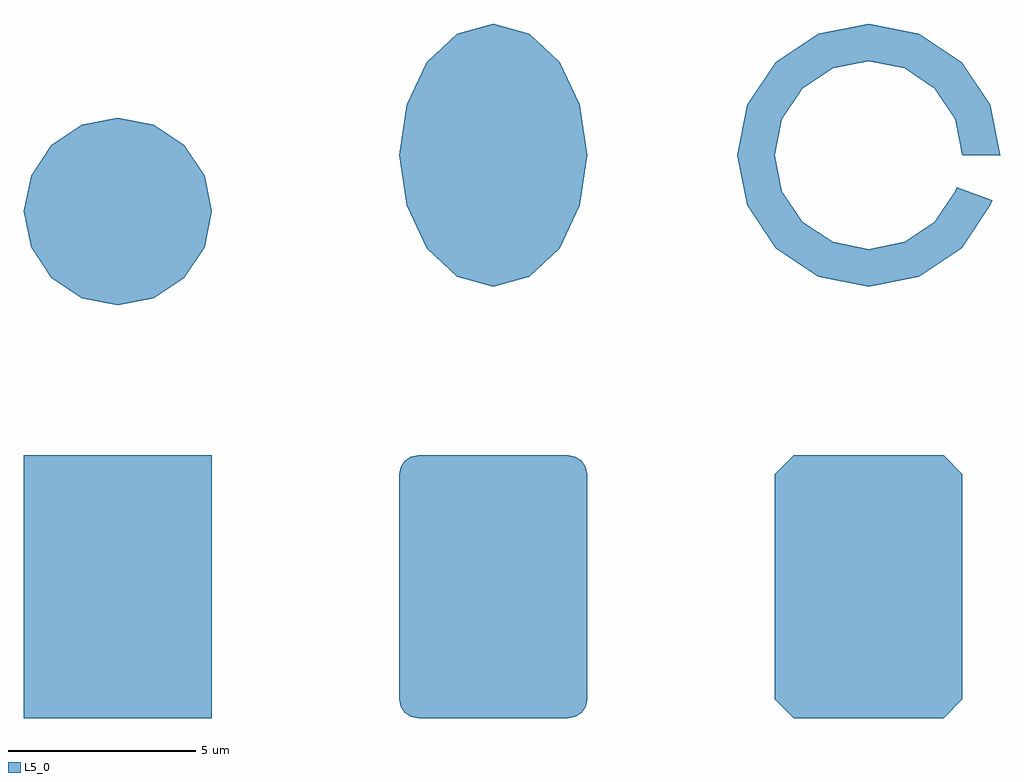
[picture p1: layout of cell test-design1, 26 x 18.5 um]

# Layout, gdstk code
import gdstk
lib = gdstk.Library(unit=1e-6, precision=1e-09)
def R(c, l, rs):  # rectangles x0, y0, x1, y1
    for r in rs: c.add(gdstk.rectangle(r[:2], r[2:], *l))
def P(c, l, *ps):  # polygons
    for p in ps: c.add(gdstk.Polygon(p, *l))
L5_0 = (5, 0)

test_design1 = lib.new_cell('test-design1')
R(test_design1, L5_0, [(0,0,5,7)])
P(test_design1, L5_0, [(10.5,0),(14.5,0),(14.691,0.038),(14.854,0.146),(14.962,0.309),(15,0.5),(15,6.5),(14.962,6.691),(14.854,6.854),(14.691,6.962),(14.5,7),(10.5,7),(10.309,6.962),(10.146,6.854),(10.038,6.691),(10,6.5),(10,0.5),(10.038,0.309),(10.146,0.146),(10.309,0.038)],
  [(20.5,0),(24.5,0),(25,0.5),(25,6.5),(24.5,7),(20.5,7),(20,6.5),(20,0.5)],
  [(5,13.5),(4.81,14.457),(4.268,15.268),(3.457,15.81),(2.5,16),(1.543,15.81),(0.732,15.268),(0.19,14.457),(0,13.5),(0.19,12.543),(0.732,11.732),(1.543,11.19),(2.5,11),(3.457,11.19),(4.268,11.732),(4.81,12.543)],
  [(15,15),(14.81,16.339),(14.268,17.475),(13.457,18.234),(12.5,18.5),(11.543,18.234),(10.732,17.475),(10.19,16.339),(10,15),(10.19,13.661),(10.732,12.525),(11.543,11.766),(12.5,11.5),(13.457,11.766),(14.268,12.525),(14.81,13.661)],
  [(26,15),(25.734,16.339),(24.975,17.475),(23.839,18.234),(22.5,18.5),(21.161,18.234),(20.025,17.475),(19.266,16.339),(19,15),(19.266,13.661),(20.025,12.525),(21.161,11.766),(22.5,11.5),(23.839,11.766),(24.975,12.525),(25.734,13.661),(25.789,13.803),(24.849,14.145),(24.809,14.043),(24.268,13.232),(23.457,12.69),(22.5,12.5),(21.543,12.69),(20.732,13.232),(20.19,14.043),(20,15),(20.19,15.957),(20.732,16.768),(21.543,17.31),(22.5,17.5),(23.457,17.31),(24.268,16.768),(24.81,15.957),(25,15)])
test_design1.add(gdstk.Label('new text', (0.025,25), layer=5, texttype=0))

lib.write_gds('test-design1.gds')
